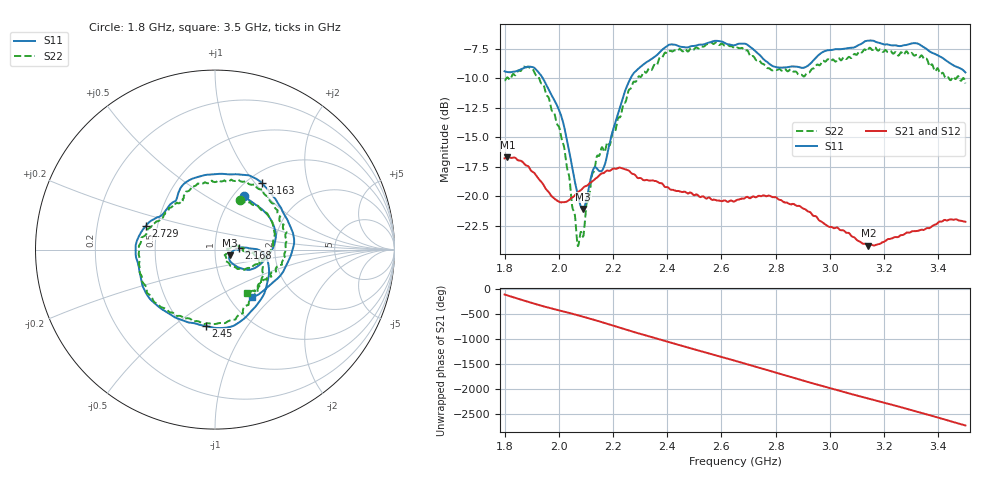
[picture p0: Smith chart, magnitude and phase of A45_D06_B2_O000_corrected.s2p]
! Created with skrf 1.9.0 (http://scikit-rf.org).
# Hz S RI R 50.0
!freq ReS11 ImS11 ReS21 ImS21 ReS12 ImS12 ReS22 ImS22
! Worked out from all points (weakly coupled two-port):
!   1601 points, 1.8 GHz to 3.5 GHz, reference 50 ohm
!   highest |S21| = -16.69 dB at 1.811 GHz (marker M1); lowest = -24.2 dB at 3.142 GHz (marker M2)
!   lowest |S11| = -21.1 dB at 2.09 GHz (marker M3), VSWR 1.19, Z = 58.9 - j3.74 ohm
!   |S11| at or under -10 dB: 1.941 GHz to 2.265 GHz (323.9 MHz wide, 15.4 % of centre)
!   |S22| runs from -24.2 to -7.0 dB; largest |S21 - S12| = 0.0024
!   S11 on the Smith chart (normalised r, x): 1.8 GHz: 1.12, +0.75; 2.168 GHz: 1.31, +0.02; 2.45 GHz: 0.63, -0.66; 2.729 GHz: 0.43, +0.14; 3.163 GHz: 1.16, +1.09; 3.5 GHz: 1.27, -0.75
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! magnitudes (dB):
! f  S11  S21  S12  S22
! 1.8 GHz  -9.4  -16.8  -16.8  -10.2
! 1.811 GHz  -9.5  -16.7  -16.7  -9.9
! 1.883 GHz  -9.0  -17.4  -17.4  -9.1
! 1.942 GHz  -10.1  -19.0  -19.0  -10.5
! 2.011 GHz  -13.4  -20.5  -20.5  -15.3
! 2.068 GHz  -19.7  -19.7  -19.7  -23.9
! 2.084 GHz  -21.0  -19.4  -19.4  -23.1
! 2.09 GHz  -21.1  -19.3  -19.3  -23.4
! 2.131 GHz  -17.6  -18.6  -18.6  -17.7
! 2.168 GHz  -17.4  -18.0  -18.0  -16.2
! 2.261 GHz  -10.2  -17.9  -17.9  -10.9
! 2.367 GHz  -7.9  -18.8  -18.8  -8.5
! 2.45 GHz  -7.3  -19.6  -19.6  -7.6
! 2.65 GHz  -7.2  -20.4  -20.4  -7.5
! 2.729 GHz  -7.8  -20.1  -20.1  -8.5
! 2.807 GHz  -9.1  -20.2  -20.2  -9.3
! 2.934 GHz  -8.6  -21.5  -21.5  -9.2
! 3.142 GHz  -6.8  -24.2  -24.1  -7.6
! 3.163 GHz  -6.9  -24.2  -24.1  -7.4
! 3.217 GHz  -7.2  -23.6  -23.6  -7.8
! 3.324 GHz  -7.1  -22.9  -22.9  -8.1
! 3.5 GHz  -9.5  -22.2  -22.1  -10.4
